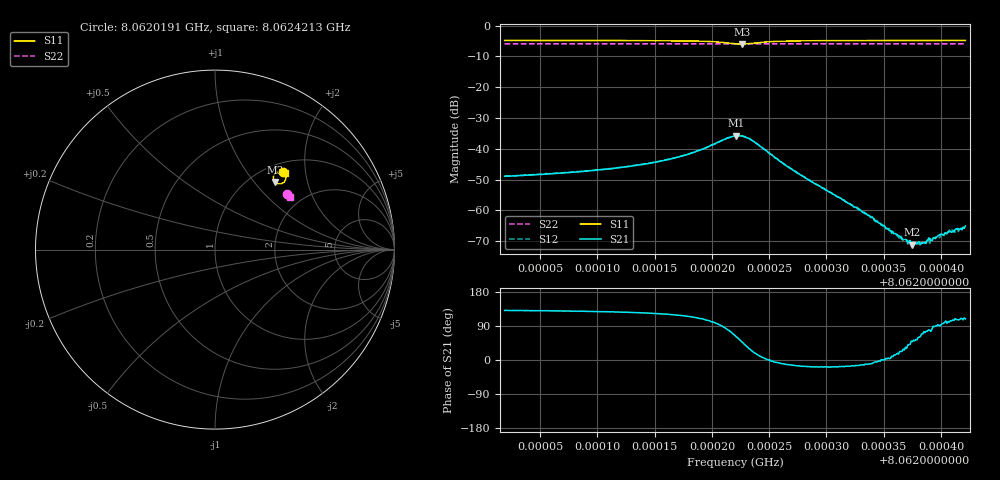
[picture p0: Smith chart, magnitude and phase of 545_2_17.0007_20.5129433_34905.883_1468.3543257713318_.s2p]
#  HZ  S  RI  R  50.00
! Rohde & Schwarz Vector Network Analyzer
! Rohde-Schwarz,ZNB20-2Port,1311601062101988,3.16
! Created: UTC 3/20/2024, 11:16:28 PM
! freq[Hz]  re:S11  im:S11  re:S21  im:S21  re:S12  im:S12  re:S22  im:S22
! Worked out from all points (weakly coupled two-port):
!   401 points, 8.0620191 GHz to 8.0624213 GHz, reference 50 ohm
!   highest |S21| = -35.71 dB at 8.0622212 GHz (marker M1); lowest = -71.1 dB at 8.062375 GHz (marker M2)
!   lowest |S11| = -5.9 dB at 8.0622262 GHz (marker M3), VSWR 3.03, Z = 64 + j64.5 ohm
!   |S11| at or under -10 dB: nowhere
!   |S22| runs from -5.9 to -5.9 dB; largest |S21 - S12| = 0.0011
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8.06201908e9  0.3783 0.4344  -0.00233 0.00271  -0.00219 0.00288  0.4033 0.3103
8.06208645e9  0.384 0.4286  -0.00269 0.00335  -0.0025 0.00354  0.4059 0.3067
8.06212667e9  0.3882 0.4233  -0.00302 0.00416  -0.0028 0.0044  0.4074 0.3047
8.06215382e9  0.3916 0.4173  -0.00331 0.00526  -0.00298 0.00549  0.4084 0.3029
8.06218298e9  0.3951 0.4042  -0.00344 0.00788  -0.00296 0.00815  0.4093 0.301
8.0622051e9  0.3887 0.3807  -0.00115 0.0126  -0.000351 0.0128  0.4095 0.299
8.06222018e9  0.3545 0.3666  0.0069 0.0146  0.00783 0.0143  0.4082 0.298
8.06222119e9  0.351 0.3674  0.00776 0.0144  0.00861 0.014  0.4082 0.2981
8.06222622e9  0.3356 0.3763  0.0108 0.012  0.0117 0.0114  0.4079 0.2986
8.06223526e9  0.3254 0.4043  0.0125 0.00536  0.0128 0.00475  0.4081 0.2995
8.0622604e9  0.3521 0.4353  0.00601 -0.000976  0.00603 -0.00135  0.4105 0.2992
8.06228755e9  0.3682 0.4354  0.00274 -0.000899  0.00273 -0.0011  0.412 0.2979
8.06233883e9  0.3802 0.4308  0.000754 -0.000133  0.000753 -0.000157  0.4142 0.2948
8.06235492e9  0.3826 0.4294  0.000468 2.76e-05  0.000511 -1.31e-05  0.4149 0.2941
8.06236196e9  0.3834 0.4288  0.000383 0.000123  0.00038 7.19e-05  0.4151 0.2937
8.06237503e9  0.3851 0.4278  0.000184 0.000209  0.00023 0.000186  0.4156 0.293
8.06238308e9  0.3859 0.4271  0.000105 0.000272  0.000107 0.000277  0.4159 0.2926
8.06239313e9  0.3868 0.4265  4.95e-06 0.000351  6.32e-05 0.000354  0.4163 0.2921
8.06239816e9  0.3874 0.4261  -1.05e-05 0.000394  2.95e-05 0.000358  0.4164 0.2919
8.06240822e9  0.3882 0.4254  -0.000109 0.000443  -6.19e-05 0.000432  0.4168 0.2912
8.06241324e9  0.3886 0.4251  -0.000145 0.000472  -7.18e-05 0.000493  0.4169 0.291
8.06242129e9  0.3894 0.4246  -0.000175 0.000527  -0.000182 0.000523  0.4171 0.2905
